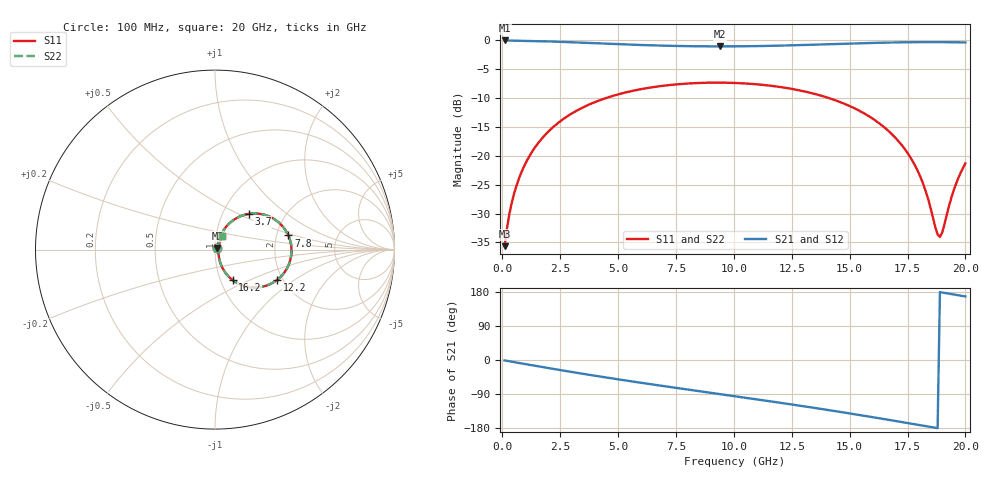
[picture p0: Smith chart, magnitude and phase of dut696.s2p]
! Touchstone file exported from HFSS 2026.1.0
!  File:  C:/ffzhzh/LocalFiles/Ansys_Project_Files/temp_train_TSV_RDL_696_1783136018_46604.aedt
!  Generated:  11:43:55 AM Jul  4, 2026
!  Design:  TSV_RDL
!  Project:  temp_train_TSV_RDL_696_1783136018_46604
! Variables:
!  h_bsmrdl = 5.19um
!  h_ox = 20um
!  h_rdl = 5um
!  h_sub = 53.16um
!  h_tmrdl = 3.58um
!  h_tsv = 53.16um
!  h_via = 3um
!  l_bsmrdl = 419.66um
!  l_sub = 3435.85um
!  l_tmrdl = 408.36um
!  m_sub = 200um
!  pitch = 41.18um
!  r_tsv = 4.48um
!  s_tmrdl = 10um
!  w_bsmrdl = 21.87um
!  w_sub = 500um
!  w_tmrdl = 25.94um
!  x_tsv_center1 = 421.33um
!  x_tsv_center2 = 862.86um
!  x_tsv_center3 = 1297.16um
!  x_tsv_center4 = 1738.69um
!  x_tsv_center5 = 2172.99um
!  x_tsv_center6 = 2614.52um
# GHz S MA R 50.000000
! Terminal data exported
! Port[1] = TM_RDL1_1_T1
! Port[2] = TM_RDL5_1_T1
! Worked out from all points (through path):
!   200 points, 100 MHz to 20 GHz, reference 50 ohm
!   highest |S21| = -0.12 dB at 100 MHz (marker M1); lowest = -1.1 dB at 9.4 GHz (marker M2)
!   group delay of S21, straight-line fit = 25.9 ps
!   lowest |S11| = -35.6 dB at 100 MHz (marker M3), VSWR 1.03, Z = 51.4 + j0.953 ohm
!   |S11| at or under -10 dB: start of sweep to 4.525 GHz; 14.05 GHz to end of sweep
!   |S22| runs from -35.6 to -7.4 dB; largest |S21 - S12| = 3.3e-14
!   S11 on the Smith chart (normalised r, x): 100 MHz: 1.03, +0.02; 3.7 GHz: 1.32, +0.57; 7.8 GHz: 2.32, +0.44; 12.2 GHz: 1.87, -0.74; 16.2 GHz: 1.14, -0.40; 20 GHz: 1.07, +0.16
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0.1  0.01652 34.2  0.9865 -1.2  0.9865 -1.2  0.01652 34.2
! Gamma 0 0 0 0
! Port Impedance 50 0 50 0
0.3  0.0309 57.5  0.9846 -3.4  0.9846 -3.4  0.03091 57.5
0.5  0.04622 64.2  0.9829 -5.5  0.9829 -5.5  0.04622 64.2
1.1  0.09327 67.3  0.9783 -11.9  0.9783 -11.9  0.09327 67.3
2.1  0.1693 61.0  0.9663 -22.4  0.9663 -22.4  0.1693 61.0
3.5  0.2616 48.6  0.9429 -36.6  0.9429 -36.6  0.2616 48.6
3.7  0.2731 46.7  0.9393 -38.6  0.9393 -38.6  0.2731 46.7
6.8  0.3973 19.3  0.8912 -67.4  0.8912 -67.4  0.3973 19.3
7.8  0.4163 10.9  0.8822 -76.2  0.8822 -76.2  0.4163 10.9
9.4  0.4265 -2.4  0.8766 -90.0  0.8766 -90.0  0.4265 -2.4
10.1  0.4233 -8.2  0.8776 -96.1  0.8776 -96.1  0.4233 -8.2
12.2  0.3856 -25.8  0.8921 -114.6  0.8921 -114.6  0.3856 -25.8
13.4  0.3446 -36.1  0.9062 -125.6  0.9062 -125.6  0.3447 -36.1
16.2  0.1952 -60.0  0.9417 -152.9  0.9417 -152.9  0.1952 -60.0
16.7  0.1617 -63.8  0.9465 -158.0  0.9465 -158.0  0.1617 -63.8
17.4  0.1126 -67.7  0.9515 -165.2  0.9515 -165.2  0.1126 -67.7
17.9  0.07665 -67.9  0.9536 -170.4  0.9536 -170.4  0.07665 -68.0
18.3  0.04834 -62.7  0.9544 -174.6  0.9544 -174.6  0.04831 -62.8
18.8  0.02083 -19.7  0.9542 -179.8  0.9542 -179.8  0.02071 -19.9
18.9  0.01988 0.5  0.954 179.1  0.954 179.1  0.01975 0.5
19.5  0.05041 57.7  0.9517 172.9  0.9517 172.9  0.05033 57.8
20  0.08562 62.4  0.9484 167.7  0.9484 167.7  0.08556 62.5
